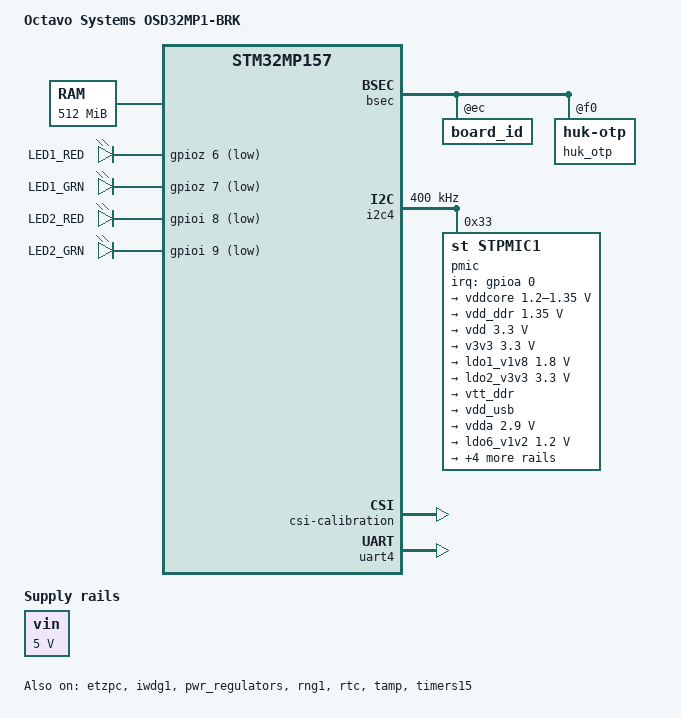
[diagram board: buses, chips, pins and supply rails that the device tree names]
// SPDX-License-Identifier: (GPL-2.0-or-later OR BSD-3-Clause)
/*
 * Copyright (C) 2024, Octavo Systems - All Rights Reserved
 * Author: Neeraj Dantu
 */

/dts-v1/;

#include <dt-bindings/pinctrl/stm32-pinfunc.h>
#include <dt-bindings/clock/stm32mp1-clksrc.h>
#include "stm32mp157.dtsi"
#include "stm32mp15xf.dtsi"
#include "stm32mp15xxac-pinctrl.dtsi"
#include <dt-bindings/gpio/gpio.h>
#include <dt-bindings/power/stm32mp1-power.h>
#include <dt-bindings/mfd/st,stpmic1.h>
#include <dt-bindings/soc/stm32mp-provisioning.h>
#include <dt-bindings/tamper/st,stm32-tamp.h>

/ {
	model = "Octavo Systems OSD32MP1-BRK";
	compatible = "oct,stm32mp157f-osd32mp1-brk", "st,stm32mp157";

	memory@c0000000 {
		device_type = "memory";
		reg = <0xc0000000 0x20000000>;
	};

	reserved-memory {
		#address-cells = <1>;
		#size-cells = <1>;
		ranges;
		mcusram1: mcuram1@10000000 {
			compatible = "shared-dma-pool";
			reg = <0x10000000 0x20000>;
			no-map;
		};

		mcusram2: mcuram2@10020000 {
			compatible = "shared-dma-pool";
			reg = <0x10020000 0x20000>;
			no-map;
		};

		mcusram3: mcuram3@10040000 {
			compatible = "shared-dma-pool";
			reg = <0x10040000 0x10000>;
			no-map;
		};

		retram: retram@38000000 {
			compatible = "shared-dma-pool";
			reg = <0x38000000 0x10000>;
			no-map;
		};

		gpu_reserved: gpu@d4000000 {
			reg = <0xd4000000 0x4000000>;
			no-map;
		};
	};

	aliases {
		serial0 = &uart4;
	};
	
	chosen {
		stdout-path = "serial0:115200n8";
	};
	
	vin: vin {
		compatible = "regulator-fixed";
		regulator-name = "vin";
		regulator-min-microvolt = <5000000>;
		regulator-max-microvolt = <5000000>;
		regulator-always-on;
	};
	
	led{
		compatible = "gpio-leds";

		red1{
			label = "LED1_RED";
			gpios = <&gpioz 6 GPIO_ACTIVE_LOW>;
			linux,default-trigger = "heartbeat";
			status = "okay";
			default-state = "off";
		};

		green1{
			label = "LED1_GRN";
			gpios = <&gpioz 7 GPIO_ACTIVE_LOW>;
			status = "okay";
			default-state = "on";
		};

		red2{
			label = "LED2_RED";
			gpios = <&gpioi 8 GPIO_ACTIVE_LOW>;
			status = "okay";
			default-state = "off";
		};

		green2{
			label = "LED2_GRN";
			gpios = <&gpioi 9 GPIO_ACTIVE_LOW>;
			default-state = "off";
		};
	};
	
	shadow-prov {
		compatible = "st,provisioning";
		hw2_prov {
			nvmem-cells = <&hw2_otp>;
			st,shadow-value = <0x000001E0>;
			st,shadow-lock = <STICKY_LOCK_SR>;
		};
	};

	clocks {
		clk_hsi: clk-hsi {
			clock-frequency = <64000000>;
		};
		clk_lse: clk-lse {
			clock-frequency = <32768>;
			st,drive = < LSEDRV_MEDIUM_HIGH >;
		};
		clk_hse: clk-hse {
			clock-frequency = <24000000>;
			st,digbypass;
		};
	};

}; /*root*/

&pinctrl {
	rcc_pins_mx: rcc_mx-0 {
		pins {
			pinmux = <STM32_PINMUX('C', 14, ANALOG)>, /* RCC_OSC32_IN */
					 <STM32_PINMUX('C', 15, ANALOG)>, /* RCC_OSC32_OUT */
					 <STM32_PINMUX('H', 0, ANALOG)>, /* RCC_OSC_IN */
					 <STM32_PINMUX('H', 1, ANALOG)>; /* RCC_OSC_OUT */
		};
	};

	uart4_pins_mx: uart4-0 {
		pins1 {
			pinmux = <STM32_PINMUX_NSEC('G', 11, AF6)>; /* UART4_TX */
			bias-pull-up;
			drive-push-pull;
			slew-rate = <0>;
		};
		pins2 {
			pinmux = <STM32_PINMUX_NSEC('B', 2, AF8)>; /* UART4_RX */
			bias-disable;
		};
	};

	uart4_idle_pins_mx: uart4-idle-0 {
		pins1 {
			pinmux = <STM32_PINMUX_NSEC('G', 11, ANALOG)>; /* UART4_TX */
		};
		pins2 {
			pinmux = <STM32_PINMUX_NSEC('B', 2, AF8)>; /* UART4_RX */
			bias-disable;
		};
	};

	uart4_sleep_pins_mx: uart4-sleep-0 {
		pins {
			pinmux = <STM32_PINMUX_NSEC('G', 11, ANALOG)>, /* UART4_TX */
				 <STM32_PINMUX_NSEC('B', 2, ANALOG)>; /* UART4_RX */
		};
	};
};

&pinctrl_z {
	i2c4_pins_z_mx: i2c4_mx-0 {
		pins {
			pinmux = <STM32_PINMUX_NSEC('Z', 4, AF6)>, /* I2C4_SCL */
					 <STM32_PINMUX_NSEC('Z', 5, AF6)>; /* I2C4_SDA */
			bias-pull-up;
			drive-open-drain;
			slew-rate = <0>;
		};
	};
};

&bsec{
	status = "okay";
	board_id: board_id@ec {
		reg = <0xec 0x4>;
		st,non-secure-otp;
	};
	
	huk_otp: huk-otp@f0 {
		reg = <0xf0 0x10>;
	};
};

&etzpc{
	status = "okay";
	st,decprot = <
	/*"Non Secured" peripherals*/
	DECPROT(STM32MP1_ETZPC_ADC_ID, DECPROT_NS_RW, DECPROT_UNLOCK)
	DECPROT(STM32MP1_ETZPC_CRYP1_ID, DECPROT_NS_RW, DECPROT_UNLOCK)
	DECPROT(STM32MP1_ETZPC_DMA1_ID, DECPROT_NS_RW, DECPROT_UNLOCK)
	DECPROT(STM32MP1_ETZPC_DMA2_ID, DECPROT_NS_RW, DECPROT_UNLOCK)
	DECPROT(STM32MP1_ETZPC_DMAMUX_ID, DECPROT_NS_RW, DECPROT_UNLOCK)
	DECPROT(STM32MP1_ETZPC_TT_FDCAN_ID, DECPROT_NS_RW, DECPROT_UNLOCK)
	DECPROT(STM32MP1_ETZPC_HASH1_ID, DECPROT_NS_RW, DECPROT_UNLOCK)
	DECPROT(STM32MP1_ETZPC_I2C1_ID, DECPROT_NS_RW, DECPROT_UNLOCK)
	DECPROT(STM32MP1_ETZPC_I2C2_ID, DECPROT_NS_RW, DECPROT_UNLOCK)
	DECPROT(STM32MP1_ETZPC_I2C4_ID, DECPROT_NS_RW, DECPROT_UNLOCK)
	DECPROT(STM32MP1_ETZPC_I2C5_ID, DECPROT_NS_RW, DECPROT_UNLOCK)
	DECPROT(STM32MP1_ETZPC_SPI2_ID, DECPROT_NS_RW, DECPROT_UNLOCK)
	DECPROT(STM32MP1_ETZPC_SPI4_ID, DECPROT_NS_RW, DECPROT_UNLOCK)
	DECPROT(STM32MP1_ETZPC_SPI6_ID, DECPROT_NS_RW, DECPROT_UNLOCK)
	DECPROT(STM32MP1_ETZPC_TIM1_ID, DECPROT_NS_RW, DECPROT_UNLOCK)
	DECPROT(STM32MP1_ETZPC_TIM12_ID, DECPROT_NS_RW, DECPROT_UNLOCK)
	DECPROT(STM32MP1_ETZPC_TIM3_ID, DECPROT_NS_RW, DECPROT_UNLOCK)
	DECPROT(STM32MP1_ETZPC_TIM4_ID, DECPROT_NS_RW, DECPROT_UNLOCK)
	DECPROT(STM32MP1_ETZPC_TIM8_ID, DECPROT_NS_RW, DECPROT_UNLOCK)
	DECPROT(STM32MP1_ETZPC_UART4_ID, DECPROT_NS_RW, DECPROT_UNLOCK)
	DECPROT(STM32MP1_ETZPC_UART5_ID, DECPROT_NS_RW, DECPROT_UNLOCK)
	DECPROT(STM32MP1_ETZPC_UART7_ID, DECPROT_NS_RW, DECPROT_UNLOCK)
	DECPROT(STM32MP1_ETZPC_UART8_ID, DECPROT_NS_RW, DECPROT_UNLOCK)
	DECPROT(STM32MP1_ETZPC_USART2_ID, DECPROT_NS_RW, DECPROT_UNLOCK)
	DECPROT(STM32MP1_ETZPC_OTG_ID, DECPROT_NS_RW, DECPROT_UNLOCK)
	/*"NS_R S_W" peripherals*/
	DECPROT(STM32MP1_ETZPC_DDRCTRL_ID, DECPROT_NS_R_S_W, DECPROT_LOCK)
	DECPROT(STM32MP1_ETZPC_DDRPHYC_ID, DECPROT_NS_R_S_W, DECPROT_LOCK)
	/*"Secured" peripherals*/
	DECPROT(STM32MP1_ETZPC_IWDG1_ID, DECPROT_S_RW, DECPROT_UNLOCK)
	DECPROT(STM32MP1_ETZPC_RNG1_ID, DECPROT_S_RW, DECPROT_UNLOCK)
	DECPROT(STM32MP1_ETZPC_STGENC_ID, DECPROT_S_RW, DECPROT_UNLOCK)
	DECPROT(STM32MP1_ETZPC_BKPSRAM_ID, DECPROT_S_RW, DECPROT_LOCK)
	>;
};

&mcusram1 {
	access-controllers-conf-default = <&etzpc DECPROT(STM32MP1_ETZPC_SRAM1_ID, DECPROT_MCU_ISOLATION, DECPROT_UNLOCK)>;
	access-controllers-conf-load = <&etzpc DECPROT(STM32MP1_ETZPC_SRAM1_ID, DECPROT_S_RW, DECPROT_UNLOCK)>;
};

&mcusram2 {
	access-controllers-conf-default = <&etzpc DECPROT(STM32MP1_ETZPC_SRAM2_ID, DECPROT_MCU_ISOLATION, DECPROT_UNLOCK)>;
	access-controllers-conf-load = <&etzpc DECPROT(STM32MP1_ETZPC_SRAM2_ID, DECPROT_S_RW, DECPROT_UNLOCK)>;
};

&mcusram3 {
	access-controllers-conf-default = <&etzpc DECPROT(STM32MP1_ETZPC_SRAM3_ID, DECPROT_NS_RW, DECPROT_UNLOCK)>;
	access-controllers-conf-load = <&etzpc DECPROT(STM32MP1_ETZPC_SRAM3_ID, DECPROT_S_RW, DECPROT_UNLOCK)>;
};

&retram {
	access-controllers-conf-default = <&etzpc DECPROT(STM32MP1_ETZPC_RETRAM_ID, DECPROT_MCU_ISOLATION, DECPROT_UNLOCK)>;
	access-controllers-conf-load = <&etzpc DECPROT(STM32MP1_ETZPC_RETRAM_ID, DECPROT_S_RW, DECPROT_UNLOCK)>;
};

&i2c4{
	pinctrl-names = "default";
	pinctrl-0 = <&i2c4_pins_z_mx>;
	status = "okay";
	compatible = "st,stm32mp15-i2c-non-secure";
	i2c-scl-rising-time-ns = <185>;
	i2c-scl-falling-time-ns = <20>;
	clock-frequency = <400000>;
	/delete-property/dmas;
	/delete-property/dma-names;

	pmic: stpmic@33 {
		compatible = "st,stpmic1";
		reg = <0x33>;
		interrupts-extended = <&gpioa 0 IRQ_TYPE_EDGE_FALLING>;
		interrupt-controller;
		#interrupt-cells = <2>;
		status = "okay";

		regulators {
			compatible = "st,stpmic1-regulators";
			buck1-supply = <&vin>;
			buck2-supply = <&vin>;
			buck3-supply = <&vin>;
			buck4-supply = <&vin>;
			ldo1-supply = <&v3v3>;
			ldo2-supply = <&vin>;
			ldo3-supply = <&vdd_ddr>;
			ldo4-supply = <&vin>;
			ldo5-supply = <&vin>;
			ldo6-supply = <&v3v3>;
			vref_ddr-supply = <&vin>;
			boost-supply = <&vin>;
			pwr_sw1-supply = <&bst_out>;
			pwr_sw2-supply = <&bst_out>;

			vddcore: buck1 {
				regulator-name = "vddcore";
				regulator-min-microvolt = <1200000>;
				regulator-max-microvolt = <1350000>;
				regulator-always-on;
				regulator-initial-mode = <0>;
				regulator-over-current-protection;
				lp-stop {
					regulator-on-in-suspend;
					regulator-suspend-microvolt = <1200000>;
				};
				standby-ddr-sr {
					regulator-off-in-suspend;
				};
				standby-ddr-off {
					regulator-off-in-suspend;
				};
			};

			vdd_ddr: buck2 {
				regulator-name = "vdd_ddr";
				regulator-min-microvolt = <1350000>;
				regulator-max-microvolt = <1350000>;
				regulator-always-on;
				regulator-initial-mode = <0>;
				regulator-over-current-protection;
				lp-stop {
					regulator-suspend-microvolt = <1350000>;
					regulator-on-in-suspend;
				};
				standby-ddr-sr {
					regulator-suspend-microvolt = <1350000>;
					regulator-on-in-suspend;
				};
				standby-ddr-off {
					regulator-off-in-suspend;
				};
			};

			vdd: buck3 {
				regulator-name = "vdd";
				regulator-min-microvolt = <3300000>;
				regulator-max-microvolt = <3300000>;
				regulator-always-on;
				st,mask-reset;
				regulator-initial-mode = <0>;
				regulator-over-current-protection;
				lp-stop {
					regulator-suspend-microvolt = <3300000>;
					regulator-on-in-suspend;
				};
				standby-ddr-sr {
					regulator-suspend-microvolt = <3300000>;
					regulator-on-in-suspend;
				};
				standby-ddr-off {
					regulator-suspend-microvolt = <3300000>;
					regulator-on-in-suspend;
				};
			};

			v3v3: buck4 {
				regulator-name = "v3v3";
				regulator-min-microvolt = <3300000>;
				regulator-max-microvolt = <3300000>;
				regulator-always-on;
				regulator-over-current-protection;
				regulator-initial-mode = <0>;
				lp-stop {
					regulator-suspend-microvolt = <3300000>;
					regulator-on-in-suspend;
				};
				standby-ddr-sr {
					regulator-off-in-suspend;
				};
				standby-ddr-off {
					regulator-off-in-suspend;
				};
			};

			ldo1_v1v8: ldo1 {
				regulator-name = "ldo1_v1v8";
				regulator-min-microvolt = <1800000>;
				regulator-max-microvolt = <1800000>;
				regulator-always-on;
				interrupts = <IT_CURLIM_LDO1 0>;
				standby-ddr-sr {
					regulator-off-in-suspend;
				};
				standby-ddr-off {
					regulator-off-in-suspend;
				};
			};

			ldo2_v3v3: ldo2 {
				regulator-name = "ldo2_v3v3";
				regulator-min-microvolt = <3300000>;
				regulator-max-microvolt = <3300000>;
				regulator-always-on;
				interrupts = <IT_CURLIM_LDO2 0>;
				standby-ddr-sr {
					regulator-off-in-suspend;
				};
				standby-ddr-off {
					regulator-off-in-suspend;
				};
			};

			vtt_ddr: ldo3 {
				regulator-name = "vtt_ddr";
				regulator-always-on;
				regulator-over-current-protection;
				st,regulator-sink-source;
				lp-stop {
					regulator-off-in-suspend;
				};
				standby-ddr-sr {
					regulator-off-in-suspend;
				};
				standby-ddr-off {
					regulator-off-in-suspend;
				};
			};

			vdd_usb: ldo4 {
				regulator-name = "vdd_usb";
				interrupts = <IT_CURLIM_LDO4 0>;
				standby-ddr-sr {
					regulator-off-in-suspend;
				};
				standby-ddr-off {
					regulator-off-in-suspend;
				};
			};

			vdda: ldo5 {
				regulator-name = "vdda";
				regulator-min-microvolt = <2900000>;
				regulator-max-microvolt = <2900000>;
				interrupts = <IT_CURLIM_LDO5 0>;
				st,regulator-warm-boot-on;
				standby-ddr-sr {
					regulator-off-in-suspend;
				};
				standby-ddr-off {
					regulator-off-in-suspend;
				};
			};

			ldo6_v1v2: ldo6 {
				regulator-name = "ldo6_v1v2";
				regulator-min-microvolt = <1200000>;
				regulator-max-microvolt = <1200000>;
				regulator-always-on;
				interrupts = <IT_CURLIM_LDO6 0>;
				standby-ddr-sr {
					regulator-off-in-suspend;
				};
				standby-ddr-off {
					regulator-off-in-suspend;
				};
			};

			vref_ddr: vref_ddr {
				regulator-name = "vref_ddr";
				regulator-always-on;
				lp-stop {
					regulator-on-in-suspend;
				};
				standby-ddr-sr {
					regulator-on-in-suspend;
				};
				standby-ddr-off {
					regulator-off-in-suspend;
				};
			};

			bst_out: boost {
				regulator-name = "bst_out";
				interrupts = <IT_OCP_BOOST 0>;
			};

			vbus_otg: pwr_sw1 {
				regulator-name = "vbus_otg";
				interrupts = <IT_OCP_OTG 0>;
			};

			vbus_sw: pwr_sw2 {
				regulator-name = "vbus_sw";
				interrupts = <IT_OCP_SWOUT 0>;
				regulator-active-discharge = <1>;
			};
		};

		onkey {
			compatible = "st,stpmic1-onkey";
			interrupts = <IT_PONKEY_F 0>, <IT_PONKEY_R 0>;
			interrupt-names = "onkey-falling", "onkey-rising";
			power-off-time-sec = <10>;
			status = "disabled";
		};

		watchdog {
			compatible = "st,stpmic1-wdt";
			status = "disabled";
		};
	};
};

&iwdg1{
	status = "okay";
	timeout-sec = <32>;
};

&pwr_regulators{
	status = "okay";
	system_suspend_supported_soc_modes = <
		STM32_PM_CSLEEP_RUN
		STM32_PM_CSTOP_ALLOW_LP_STOP
		STM32_PM_CSTOP_ALLOW_STANDBY_DDR_SR
	>;
	system_off_soc_mode = <STM32_PM_CSTOP_ALLOW_STANDBY_DDR_OFF>;
	vdd-supply = <&vdd>;
	vdd_3v3_usbfs-supply = <&vdd_usb>;
};

&rcc{
	compatible = "st,stm32mp1-rcc-secure";

	pinctrl-names = "default";
	pinctrl-0 = <&rcc_pins_mx>;
	status = "okay";

	st,clksrc = <
		CLK_CKPER_DISABLED
		CLK_SDMMC12_PLL4P
		CLK_STGEN_HSI
		CLK_SPI2S23_PLL4P
		CLK_SPI45_PCLK2
		CLK_SPI6_HSI
		CLK_I2C46_HSI
		CLK_USBO_USBPHY
		CLK_ADC_PLL4R
		CLK_I2C12_PCLK1
		CLK_I2C35_PCLK1
		CLK_UART24_HSI
		CLK_UART35_PCLK1
		CLK_UART78_PCLK1
		CLK_FDCAN_HSE
		CLK_RNG1_CSI
		CLK_MPU_PLL1P
		CLK_AXI_PLL2P
		CLK_MCU_PLL3P
		CLK_RTC_LSE
		CLK_MCO1_DISABLED
		CLK_MCO2_DISABLED
	>;
	st,clkdiv = <
		DIV(DIV_MPU, 1)
		DIV(DIV_AXI, 0)
		DIV(DIV_MCU, 0)
		DIV(DIV_APB1, 1)
		DIV(DIV_APB2, 1)
		DIV(DIV_APB3, 1)
		DIV(DIV_APB4, 1)
		DIV(DIV_APB5, 2)
		DIV(DIV_RTC, 0)
		DIV(DIV_MCO1, 0)
		DIV(DIV_MCO2, 0)
	>;
	st,pll_vco {
		pll1_vco_1600Mhz: pll1-vco-1600Mhz {
			src = < CLK_PLL12_HSE >;
			divmn = < 2 99 >;
		};
		pll2_vco_800Mhz: pll2-vco-800Mhz {
			src = < CLK_PLL12_HSE >;
			divmn = < 1 32 >;
			frac = < 0xaab >;
		};
		pll3_vco_417Mhz: pll3-vco-417Mhz {
			src = < CLK_PLL3_HSE >;
			divmn = < 1 33 >;
			frac = < 0x1a04 >;
		};
		pll4_vco_594Mhz: pll4-vco-594Mhz {
			src = < CLK_PLL4_HSE >;
			divmn = < 3 98 >;
		};
	};

	pll1:st,pll@0 {
		compatible = "st,stm32mp1-pll";
		reg = <0>;

		st,pll = < &pll1_cfg1 >;

		pll1_cfg1: pll1_cfg1 {
			st,pll_vco = < &pll1_vco_1600Mhz >;
			st,pll_div_pqr = < 0 1 1 >;
		};
	};

	pll2:st,pll@1 {
		compatible = "st,stm32mp1-pll";
		reg = <1>;

		st,pll = < &pll2_cfg1 >;

		pll2_cfg1: pll2_cfg1 {
			st,pll_vco = < &pll2_vco_800Mhz >;
			st,pll_div_pqr = < 1 0 0 >;
		};
	};

	pll3:st,pll@2 {
		compatible = "st,stm32mp1-pll";
		reg = <2>;

		st,pll = < &pll3_cfg1 >;

		pll3_cfg1: pll3_cfg1 {
			st,pll_vco = < &pll3_vco_417Mhz >;
			st,pll_div_pqr = < 1 16 36 >;
		};
	};

	pll4:st,pll@3 {
		compatible = "st,stm32mp1-pll";
		reg = <3>;

		st,pll = < &pll4_cfg1 >;

		pll4_cfg1: pll4_cfg1 {
			st,pll_vco = < &pll4_vco_594Mhz >;
			st,pll_div_pqr = < 5 7 7 >;
		};
	};
};

&rng1{
	status = "okay";
};

&rtc{
	status = "okay";
};

&tamp{
	status = "okay";
	st,tamp-passive-nb-sample = <4>;
	st,tamp-passive-sample-clk-div = <16384>;
};

&cpu0{
	cpu-supply = <&vddcore>;
};

&cpu1{
	cpu-supply = <&vddcore>;
};

&gpu {
	contiguous-area = <&gpu_reserved>;
};

&osc_calibration {
	csi-calibration {
		status = "okay";
	};

	hsi-calibration {
		status = "okay";
	};
};

&timers15 {
	status = "okay";

	counter {
		status = "okay";
	};
};

&uart4 {
	pinctrl-names = "default", "sleep", "idle";
	pinctrl-0 = <&uart4_pins_mx>;
	pinctrl-1 = <&uart4_sleep_pins_mx>;
	pinctrl-2 = <&uart4_idle_pins_mx>;
	/delete-property/dmas;
	/delete-property/dma-names;
	status = "okay";
};
